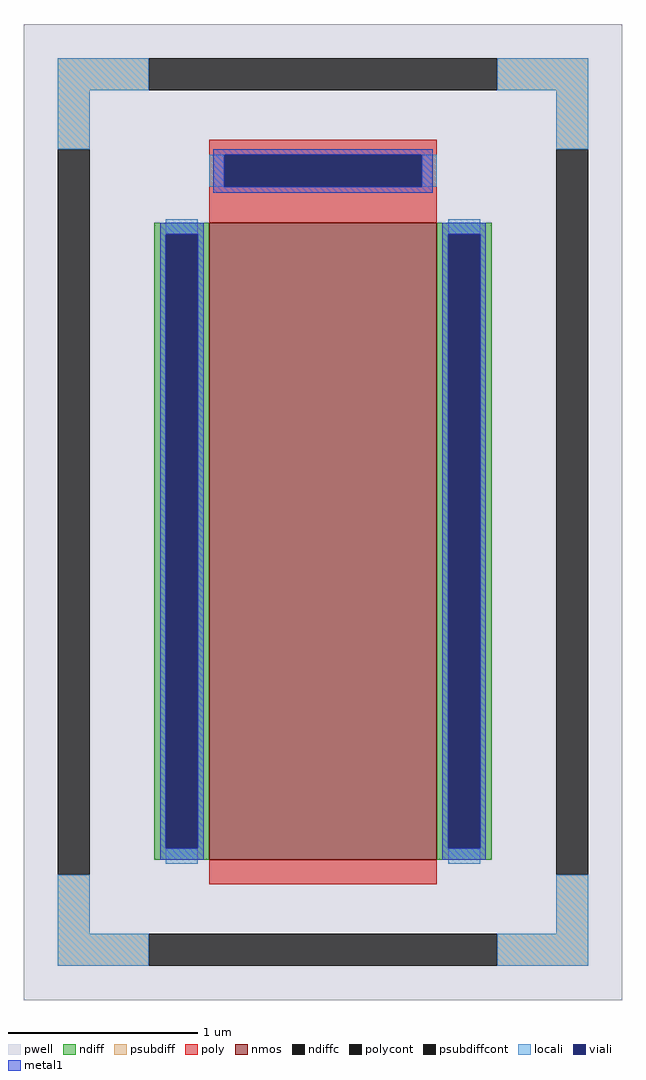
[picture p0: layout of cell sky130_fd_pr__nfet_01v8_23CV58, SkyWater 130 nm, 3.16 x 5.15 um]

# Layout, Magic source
magic
tech sky130A
magscale 1 2
<< pwell >>
rect -316 -515 316 515
<< nmos >>
rect -120 -367 120 305
<< ndiff >>
rect -178 293 -120 305
rect -178 -355 -166 293
rect -132 -355 -120 293
rect -178 -367 -120 -355
rect 120 293 178 305
rect 120 -355 132 293
rect 166 -355 178 293
rect 120 -367 178 -355
<< ndiffc >>
rect -166 -355 -132 293
rect 132 -355 166 293
<< psubdiff >>
rect -280 445 -184 479
rect 184 445 280 479
rect -280 383 -246 445
rect 246 383 280 445
rect -280 -445 -246 -383
rect 246 -445 280 -383
rect -280 -479 -184 -445
rect 184 -479 280 -445
<< psubdiffcont >>
rect -184 445 184 479
rect -280 -383 -246 383
rect 246 -383 280 383
rect -184 -479 184 -445
<< poly >>
rect -120 377 120 393
rect -120 343 -104 377
rect 104 343 120 377
rect -120 305 120 343
rect -120 -393 120 -367
<< polycont >>
rect -104 343 104 377
<< locali >>
rect -280 445 -184 479
rect 184 445 280 479
rect -280 383 -246 445
rect 246 383 280 445
rect -120 343 -104 377
rect 104 343 120 377
rect -166 293 -132 309
rect -166 -371 -132 -355
rect 132 293 166 309
rect 132 -371 166 -355
rect -280 -445 -246 -383
rect 246 -445 280 -383
rect -280 -479 -184 -445
rect 184 -479 280 -445
<< viali >>
rect -104 343 104 377
rect -166 -355 -132 293
rect 132 -355 166 293
<< metal1 >>
rect -116 377 116 383
rect -116 343 -104 377
rect 104 343 116 377
rect -116 337 116 343
rect -172 293 -126 305
rect -172 -355 -166 293
rect -132 -355 -126 293
rect -172 -367 -126 -355
rect 126 293 172 305
rect 126 -355 132 293
rect 166 -355 172 293
rect 126 -367 172 -355
<< properties >>
string FIXED_BBOX -263 -462 263 462
string gencell sky130_fd_pr__nfet_01v8
string library sky130
string parameters w 3.36 l 1.2 m 1 nf 1 diffcov 100 polycov 100 guard 1 glc 1 grc 1 gtc 1 gbc 1 tbcov 100 rlcov 100 topc 1 botc 0 poverlap 0 doverlap 1 lmin 0.15 wmin 0.42 compatible {sky130_fd_pr__nfet_01v8 sky130_fd_pr__nfet_01v8_lvt  sky130_fd_bs_flash__special_sonosfet_star  sky130_fd_pr__nfet_g5v0d10v5 sky130_fd_pr__nfet_05v0_nvt  sky130_fd_pr__nfet_03v3_nvt} full_metal 1 viasrc 100 viadrn 100 viagate 100 viagb 0 viagr 0 viagl 0 viagt 0
<< end >>
